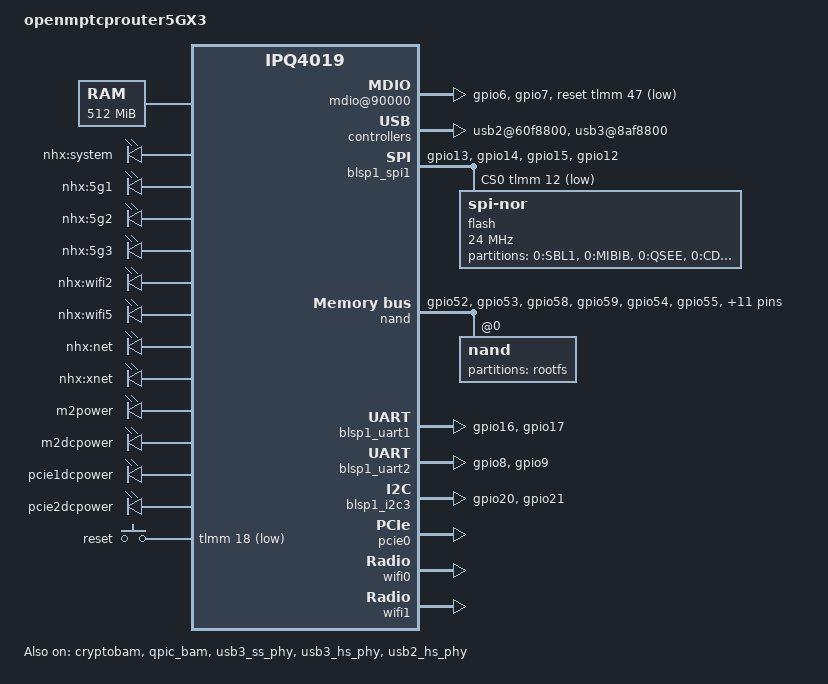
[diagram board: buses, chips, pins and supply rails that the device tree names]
// SPDX-License-Identifier: ISC
/* Copyright (c) 2015, The Linux Foundation. All rights reserved.
 * Copyright (c) 2017-2018, Sven Eckelmann <sven.eckelmann@openmesh.com>
 */

#include "qcom-ipq4019.dtsi"
#include <dt-bindings/gpio/gpio.h>
#include <dt-bindings/input/input.h>
#include <dt-bindings/soc/qcom,tcsr.h>

/ {
	model = "openmptcprouter5GX3";
	compatible = "nhx,nhx4019";

	chosen {
		bootargs-append = " root=/dev/ubiblock0_1";
	};

	aliases {
		led-boot = &led_sys;
		led-failsafe = &led_sys;
		led-running = &led_sys;
		led-upgrade = &led_sys;
		label-mac-device = &gmac0;
	};

	memory {
		device_type = "memory";
		reg = <0x80000000 0x20000000>;
	};

	soc {
		rng@22000 {
			status = "okay";
		};

		mdio@90000 {
			status = "okay";
			pinctrl-0 = <&mdio_pins>;
			pinctrl-names = "default";
			reset-gpios = <&tlmm 47 GPIO_ACTIVE_LOW>;
			reset-delay-us = <2000>;
		};

		ess-psgmii@98000 {
			status = "okay";
		};

		tcsr@1949000 {
			compatible = "qcom,tcsr";
			reg = <0x1949000 0x100>;
			qcom,wifi_glb_cfg = <TCSR_WIFI_GLB_CFG>;
		};

		tcsr@194b000 {
			compatible = "qcom,tcsr";
			reg = <0x194b000 0x100>;
			qcom,usb-hsphy-mode-select = <TCSR_USB_HSPHY_HOST_MODE>;
		};

		ess_tcsr@1953000 {
			compatible = "qcom,tcsr";
			reg = <0x1953000 0x1000>;
			qcom,ess-interface-select = <TCSR_ESS_PSGMII>;
		};

		tcsr@1957000 {
			compatible = "qcom,tcsr";
			reg = <0x1957000 0x100>;
			qcom,wifi_noc_memtype_m0_m2 = <TCSR_WIFI_NOC_MEMTYPE_M0_M2>;
		};

		usb2@60f8800 {
			status = "okay";
		};

		usb3@8af8800 {
			status = "okay";
		};

		crypto@8e3a000 {
			status = "okay";
		};

		watchdog@b017000 {
			status = "okay";
		};

		ess-switch@c000000 {
			status = "okay";
		};

		edma@c080000 {
			status = "okay";
		};
	};

	leds {
		compatible = "gpio-leds";

		led_sys: status {
			label = "nhx:system";
			gpio = <&tlmm 4 GPIO_ACTIVE_HIGH>;
		};

		lte1 {
			label = "nhx:5g1";
			gpio = <&tlmm 3 GPIO_ACTIVE_HIGH>;
		};

		lterssi1 {
			label = "nhx:5g2";
			gpio = <&tlmm 2 GPIO_ACTIVE_HIGH>;
		};

		lterssi2 {
			label = "nhx:5g3";
			gpio = <&tlmm 1 GPIO_ACTIVE_HIGH>;
		};

		lterssi3 {
			label = "nhx:wifi2";
			gpio = <&tlmm 36 GPIO_ACTIVE_HIGH>;
		};

		wifi {
			label = "nhx:wifi5";
			gpio = <&tlmm 37 GPIO_ACTIVE_HIGH>;
		};

		err {
			label = "nhx:net";
			gpio = <&tlmm 44 GPIO_ACTIVE_HIGH>;
		};

		net {
			label = "nhx:xnet";
			gpio = <&tlmm 0 GPIO_ACTIVE_HIGH>;
		};

	    m2power {
			label = "m2power";
			gpio = <&tlmm 48 GPIO_ACTIVE_LOW>;
		};


		m2dcpower {
		    label = "m2dcpower";
			gpio = <&tlmm 51 GPIO_ACTIVE_HIGH>;
		};

		pcie1dcpower {
			 label = "pcie1dcpower";
			gpio = <&tlmm 50 GPIO_ACTIVE_HIGH>;
		};

		pcie2dcpower {
			label = "pcie2dcpower";
			gpio = <&tlmm 46 GPIO_ACTIVE_HIGH>;
		};
	};

	keys {
		compatible = "gpio-keys";

		reset {
			label = "reset";
			gpios = <&tlmm 18 GPIO_ACTIVE_LOW>;
			linux,code = <KEY_RESTART>;
		};
	};
};

&blsp_dma {
	status = "okay";
};

&blsp1_spi1 {
	pinctrl-0 = <&spi_0_pins>;
	pinctrl-names = "default";
	status = "okay";
	cs-gpios = <&tlmm 12 GPIO_ACTIVE_LOW>;

	flash@0 {
		reg = <0>;
		compatible = "jedec,spi-nor";
		spi-max-frequency = <24000000>;

		partitions {
			compatible = "fixed-partitions";
			#address-cells = <1>;
			#size-cells = <1>;

			partition@0 {
				label = "0:SBL1";
				reg = <0x0 0x40000>;
				read-only;
			};
			partition@40000 {
				label = "0:MIBIB";
				reg = <0x40000 0x20000>;
				read-only;
			};
			partition@60000 {
				label = "0:QSEE";
				reg = <0x60000 0x60000>;
				read-only;
			};
			partition@c0000 {
				label = "0:CDT";
				reg = <0xc0000 0x10000>;
				read-only;
			};
			partition@d0000 {
				label = "0:DDRPARAMS";
				reg = <0xd0000 0x10000>;
				read-only;
			};
			partition@e0000 {
				label = "0:APPSBLENV";
				reg = <0xe0000 0x10000>;
				read-only;
			};
			partition@f0000 {
				label = "0:APPSBL";
				reg = <0xf0000 0x80000>;
			};
			art: partition@170000 {
				label = "0:ART";
				reg = <0x170000 0x10000>;
			};
		};
	};
};

&nand {
	pinctrl-0 = <&nand_pins>;
	pinctrl-names = "default";
	status = "okay";

	nand@0 {
		partitions {
			compatible = "fixed-partitions";
			#address-cells = <1>;
			#size-cells = <1>;

			partition@0 {
				label = "rootfs";
				reg = <0x00000000 0x08000000>;
			};
		};
	};
};

&blsp1_uart1 {
	pinctrl-0 = <&serial_0_pins>;
	pinctrl-names = "default";
	status = "okay";
};

&blsp1_uart2 {
	pinctrl-0 = <&serial_1_pins>;
	pinctrl-names = "default";
	status = "okay";
};

&blsp1_i2c3 {
	pinctrl-0 = <&i2c_0_pins>;
	pinctrl-names = "default";
	status = "okay";
};

&cryptobam {
	status = "okay";
};

&pcie0 {
	status = "okay";
	perst-gpio = <&tlmm 38 GPIO_ACTIVE_LOW>;
	wake-gpio = <&tlmm 40 GPIO_ACTIVE_LOW>;

	/* Free slot for use */
	bridge@0,0 {
		reg = <0x00000000 0 0 0 0>;
		#address-cells = <3>;
		#size-cells = <2>;
		ranges;
	};
};

&qpic_bam {
	status = "okay";
};

&tlmm {
	mdio_pins: mdio_pinmux {
		mux_1 {
			pins = "gpio6";
			function = "mdio";
			bias-pull-up;
		};

		mux_2 {
			pins = "gpio7";
			function = "mdc";
			bias-pull-up;
		};
	};

	spi_0_pins: spi_0_pinmux {
		pinmux {
			function = "blsp_spi0";
			pins = "gpio13", "gpio14", "gpio15";
			drive-strength = <12>;
			bias-disable;
		};
		pinmux_cs {
			function = "gpio";
			pins = "gpio12";
			drive-strength = <2>;
			bias-disable;
			output-high;
		};
	};

	nand_pins: nand_pins {
		pullups {
			pins =  "gpio52", "gpio53", "gpio58", "gpio59";
			function = "qpic";
			bias-pull-up;
		};

		pulldowns {
			pins = "gpio54", "gpio55", "gpio56", "gpio57",
				"gpio60", "gpio62", "gpio63", "gpio64",
				"gpio65", "gpio66", "gpio67", "gpio68",
				"gpio69";
			function = "qpic";
			bias-pull-down;
		};
	};

	serial_0_pins: serial0_pinmux {
		mux {
			pins = "gpio16", "gpio17";
			function = "blsp_uart0";
			bias-disable;
		};
	};

	serial_1_pins: serial1_pinmux {
		mux {
			pins = "gpio8", "gpio9";
			function = "blsp_uart1";
			bias-disable;
		};
	};

	i2c_0_pins: i2c_0_pinmux {
		mux {
			pins = "gpio20", "gpio21";
			function = "blsp_i2c0";
			bias-disable;
		};
	};
};

&gmac0 {
	mtd-mac-address = <&art 0x0>;
};

&gmac1 {
	mtd-mac-address = <&art 0x6>;
};

&usb3_ss_phy {
	status = "okay";
};

&usb3_hs_phy {
	status = "okay";
};

&usb2_hs_phy {
	status = "okay";
};

&wifi0 {
	status = "okay";
};

&wifi1 {
	status = "okay";
};
